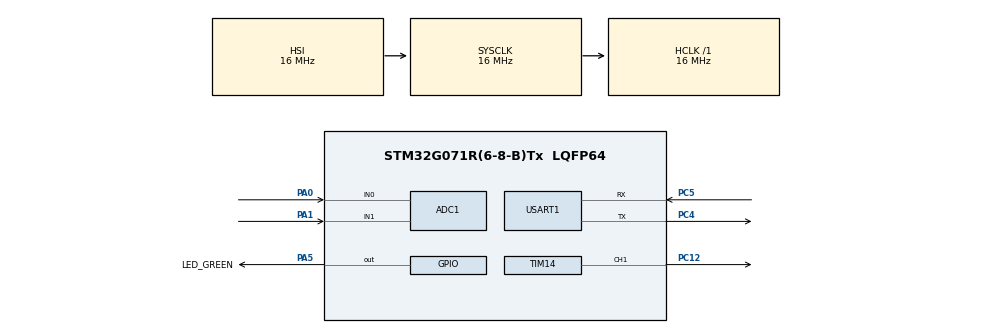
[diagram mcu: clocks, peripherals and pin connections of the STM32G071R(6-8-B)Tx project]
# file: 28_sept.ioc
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ADC1.Channel-0\#ChannelRegularConversion=ADC_CHANNEL_0
ADC1.Channel-1\#ChannelRegularConversion=ADC_CHANNEL_1
ADC1.NbrOfConversion=2
ADC1.NbrOfConversionFlag=1
ADC1.Rank-0\#ChannelRegularConversion=1
ADC1.Rank-1\#ChannelRegularConversion=2
ADC1.SamplingTime-0\#ChannelRegularConversion=ADC_SAMPLINGTIME_COMMON_1
ADC1.SamplingTime-1\#ChannelRegularConversion=ADC_SAMPLINGTIME_COMMON_1
ADC1.SelectedChannel=ADC_CHANNEL_0|ADC_CHANNEL_1
ADC1.master=1
Mcu.Family=STM32G0
Mcu.Name=STM32G071R(6-8-B)Tx
Mcu.Package=LQFP64
PA0.Mode=IN0
PA0.Signal=ADC1_IN0
PA1.Mode=IN1
PA1.Signal=ADC1_IN1
PA13.GPIO_Label=TMS
PA13.Signal=SYS_SWDIO
PA14-BOOT0.GPIO_Label=TCK
PA14-BOOT0.Signal=SYS_SWCLK
PA2.GPIO_Label=USART2_TX [STLK_TX]
PA2.Signal=USART2_TX
PA3.GPIO_Label=USART2_RX [STLK_RX]
PA3.Signal=USART2_RX
PA5.GPIO_Label=LED_GREEN
PA5.GPIO_Speed=GPIO_SPEED_FREQ_HIGH
PA5.Signal=GPIO_Output
PC12.Signal=S_TIM14_CH1
PC13.Signal=SYS_WKUP2
PC14-OSC32_IN\ (PC14).Signal=RCC_OSC32_IN
PC15-OSC32_OUT\ (PC15).Signal=RCC_OSC32_OUT
PC4.Mode=Asynchronous
PC4.Signal=USART1_TX
PC5.Mode=Asynchronous
PC5.Signal=USART1_RX
PF0-OSC_IN\ (PF0).GPIO_Label=MCO
PF0-OSC_IN\ (PF0).Signal=RCC_OSC_IN
ProjectManager.HeapSize=0x200
ProjectManager.StackSize=0x400
ProjectManager.TargetToolchain=STM32CubeIDE
RCC.AHBFreq_Value=16000000
RCC.CortexFreq_Value=16000000
RCC.EXTERNAL_CLOCK_VALUE=12288000
RCC.HCLKFreq_Value=16000000
RCC.HSE_VALUE=8000000
RCC.HSI_VALUE=16000000
RCC.LSE_VALUE=32768
RCC.SYSCLKFreq_VALUE=16000000
RCC.VCOOutputFreq_Value=128000000
SH.S_TIM14_CH1.0=TIM14_CH1,PWM Generation1 CH1
TIM14.Channel=TIM_CHANNEL_1
TIM14.Pulse=1000
USART1.VirtualMode-Asynchronous=VM_ASYNC
VP_SYS_VS_DBSignals.Mode=DisableDeadBatterySignals
VP_TIM14_VS_ClockSourceINT.Mode=Enable_Timer
board=NUCLEO-G071RB

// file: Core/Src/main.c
/* USER CODE BEGIN Header */
/**
  ******************************************************************************
  * @file           : main.c
  * @brief          : Main program body
  ******************************************************************************
  * @attention
  *
  * <h2><center>&copy; Copyright (c) 2023 STMicroelectronics.
  * All rights reserved.</center></h2>
  *
  * This software component is licensed by ST under BSD 3-Clause license,
  * the "License"; You may not use this file except in compliance with the
  * License. You may obtain a copy of the License at:
  *                        opensource.org/licenses/BSD-3-Clause
  *
  ******************************************************************************
  */
/* USER CODE END Header */
#include "main.h"

ADC_HandleTypeDef hadc1;

TIM_HandleTypeDef htim14;

UART_HandleTypeDef huart1;

void SystemClock_Config(void);
static void MX_GPIO_Init(void);
static void MX_ADC1_Init(void);
static void MX_TIM14_Init(void);
static void MX_USART1_UART_Init(void);

int main(void)
{
  /* USER CODE BEGIN 1 */
	int raw=0;
	char msg[5];
	//char n = '3';
	uint8_t data[] = "\r\n//--------------menu-------------//\r\n1. LED on PWM\r\n2. ADC channel 1\r\n3. ADC channel 2\r\nEnter anything between 1 2 3: ";
	char data1[10];
  /* USER CODE END 1 */

  /* MCU Configuration--------------------------------------------------------*/

  /* Reset of all peripherals, Initializes the Flash interface and the Systick. */
  HAL_Init();

  /* Configure the system clock */
  SystemClock_Config();

  /* Initialize all configured peripherals */
  MX_GPIO_Init();
  MX_ADC1_Init();
  MX_TIM14_Init();
  MX_USART1_UART_Init();

  /* Infinite loop */
  /* USER CODE BEGIN WHILE */
    HAL_UART_Transmit (&huart1, data, sizeof (data), HAL_MAX_DELAY);

    HAL_UART_Receive(&huart1, data1, 10, 5000);

    HAL_UART_Transmit (&huart1, data1, sizeof(data1), HAL_MAX_DELAY);

    char n = data1[0];

    HAL_UART_Transmit (&huart1, n, sizeof(n), HAL_MAX_DELAY);
  while (1)
  {
	  switch(n){

		  case '1':
		  {
			  HAL_UART_Transmit(&huart1, "CASE 1:\r\n", sizeof("CASE 1:\r\n"), HAL_MAX_DELAY);
			  HAL_TIM_PWM_Start(&htim14,TIM_CHANNEL_1 );
			  HAL_GPIO_WritePin(LED_GREEN_GPIO_Port, LED_GREEN_Pin, 1);
			  break;
		  }
		  case '2':
		  {
			  while(1)
			  {
				  //HAL_UART_Transmit(&huart2, "CASE 2:\r\n", sizeof("CASE 2:\r\n"), HAL_MAX_DELAY);
				  HAL_ADC_Start(&hadc1);
				  HAL_ADC_PollForConversion(&hadc1, HAL_MAX_DELAY);
				  raw = HAL_ADC_GetValue(&hadc1);

				  if(raw>3000){
					  HAL_TIM_PWM_Start(&htim14,TIM_CHANNEL_1 );
				  }
				  else{
					  HAL_TIM_PWM_Stop(&htim14, TIM_CHANNEL_1);
				  }

				  sprintf(msg,"ch_0=%hu\r\n",raw);
				  HAL_UART_Transmit(&huart1,(uint8_t*)msg,strlen(msg), HAL_MAX_DELAY);

			  }
			  break;
		  }
		  case '3':
		  {
			  while(1)
			  {
				  //HAL_UART_Transmit(&huart2, "CASE 3:\r\n", sizeof("CASE 3:\r\n"), HAL_MAX_DELAY);
				  ADC_ChannelConfTypeDef sConfig = {0};

				  sConfig.Channel = ADC_CHANNEL_1;
				  sConfig.Rank = ADC_REGULAR_RANK_1;
				  sConfig.SamplingTime = ADC_SAMPLINGTIME_COMMON_1;
				  if (HAL_ADC_ConfigChannel(&hadc1, &sConfig) != HAL_OK)
				  {
					  Error_Handler();
				  }

				  HAL_ADC_Start(&hadc1);
				  HAL_ADC_PollForConversion(&hadc1, HAL_MAX_DELAY);
				  raw = HAL_ADC_GetValue(&hadc1);

				  if(raw>3000){
					  HAL_GPIO_WritePin(LED_GREEN_GPIO_Port, LED_GREEN_Pin, 1);
				  }
				  else{
					  HAL_GPIO_WritePin(LED_GREEN_GPIO_Port, LED_GREEN_Pin, 0);
				  }

				  sprintf(msg,"ch_1=%hu\r\n",raw);
				  HAL_UART_Transmit(&huart1,(uint8_t*)msg,strlen(msg), HAL_MAX_DELAY);
			  }
			  break;
		  }
		  default:
		  {
			  HAL_UART_Transmit(&huart1, "Default:\r\n", sizeof("Default:\r\n"), HAL_MAX_DELAY);
			  break;
		  }
	  }

    /* USER CODE END WHILE */

  }
}

void SystemClock_Config(void)
{
  RCC_OscInitTypeDef RCC_OscInitStruct = {0};
  RCC_ClkInitTypeDef RCC_ClkInitStruct = {0};
  RCC_PeriphCLKInitTypeDef PeriphClkInit = {0};

  /** Configure the main internal regulator output voltage
  */
  HAL_PWREx_ControlVoltageScaling(PWR_REGULATOR_VOLTAGE_SCALE1);
  /** Initializes the RCC Oscillators according to the specified parameters
  * in the RCC_OscInitTypeDef structure.
  */
  RCC_OscInitStruct.OscillatorType = RCC_OSCILLATORTYPE_HSI;
  RCC_OscInitStruct.HSIState = RCC_HSI_ON;
  RCC_OscInitStruct.HSIDiv = RCC_HSI_DIV1;
  RCC_OscInitStruct.HSICalibrationValue = RCC_HSICALIBRATION_DEFAULT;
  RCC_OscInitStruct.PLL.PLLState = RCC_PLL_NONE;
  if (HAL_RCC_OscConfig(&RCC_OscInitStruct) != HAL_OK)
  {
    Error_Handler();
  }
  /** Initializes the CPU, AHB and APB buses clocks
  */
  RCC_ClkInitStruct.ClockType = RCC_CLOCKTYPE_HCLK|RCC_CLOCKTYPE_SYSCLK
                              |RCC_CLOCKTYPE_PCLK1;
  RCC_ClkInitStruct.SYSCLKSource = RCC_SYSCLKSOURCE_HSI;
  RCC_ClkInitStruct.AHBCLKDivider = RCC_SYSCLK_DIV1;
  RCC_ClkInitStruct.APB1CLKDivider = RCC_HCLK_DIV1;

  if (HAL_RCC_ClockConfig(&RCC_ClkInitStruct, FLASH_LATENCY_0) != HAL_OK)
  {
    Error_Handler();
  }
  /** Initializes the peripherals clocks
  */
  PeriphClkInit.PeriphClockSelection = RCC_PERIPHCLK_USART1|RCC_PERIPHCLK_ADC;
  PeriphClkInit.Usart1ClockSelection = RCC_USART1CLKSOURCE_PCLK1;
  PeriphClkInit.AdcClockSelection = RCC_ADCCLKSOURCE_SYSCLK;
  if (HAL_RCCEx_PeriphCLKConfig(&PeriphClkInit) != HAL_OK)
  {
    Error_Handler();
  }
}

static void MX_ADC1_Init(void)
{

  ADC_ChannelConfTypeDef sConfig = {0};

  /** Configure the global features of the ADC (Clock, Resolution, Data Alignment and number of conversion)
  */
  hadc1.Instance = ADC1;
  hadc1.Init.ClockPrescaler = ADC_CLOCK_SYNC_PCLK_DIV2;
  hadc1.Init.Resolution = ADC_RESOLUTION_12B;
  hadc1.Init.DataAlign = ADC_DATAALIGN_RIGHT;
  hadc1.Init.ScanConvMode = ADC_SCAN_ENABLE;
  hadc1.Init.EOCSelection = ADC_EOC_SINGLE_CONV;
  hadc1.Init.LowPowerAutoWait = DISABLE;
  hadc1.Init.LowPowerAutoPowerOff = DISABLE;
  hadc1.Init.ContinuousConvMode = DISABLE;
  hadc1.Init.NbrOfConversion = 2;
  hadc1.Init.DiscontinuousConvMode = DISABLE;
  hadc1.Init.ExternalTrigConv = ADC_SOFTWARE_START;
  hadc1.Init.ExternalTrigConvEdge = ADC_EXTERNALTRIGCONVEDGE_NONE;
  hadc1.Init.DMAContinuousRequests = DISABLE;
  hadc1.Init.Overrun = ADC_OVR_DATA_PRESERVED;
  hadc1.Init.SamplingTimeCommon1 = ADC_SAMPLETIME_1CYCLE_5;
  hadc1.Init.SamplingTimeCommon2 = ADC_SAMPLETIME_1CYCLE_5;
  hadc1.Init.OversamplingMode = DISABLE;
  hadc1.Init.TriggerFrequencyMode = ADC_TRIGGER_FREQ_HIGH;
  if (HAL_ADC_Init(&hadc1) != HAL_OK)
  {
    Error_Handler();
  }
  /** Configure Regular Channel
  */
  sConfig.Channel = ADC_CHANNEL_0;
  sConfig.Rank = ADC_REGULAR_RANK_1;
  sConfig.SamplingTime = ADC_SAMPLINGTIME_COMMON_1;
  if (HAL_ADC_ConfigChannel(&hadc1, &sConfig) != HAL_OK)
  {
    Error_Handler();
  }
  /** Configure Regular Channel
  */
  sConfig.Channel = ADC_CHANNEL_1;
  sConfig.Rank = ADC_REGULAR_RANK_2;
  if (HAL_ADC_ConfigChannel(&hadc1, &sConfig) != HAL_OK)
  {
    Error_Handler();
  }

}

static void MX_TIM14_Init(void)
{

  TIM_OC_InitTypeDef sConfigOC = {0};

  htim14.Instance = TIM14;
  htim14.Init.Prescaler = 0;
  htim14.Init.CounterMode = TIM_COUNTERMODE_UP;
  htim14.Init.Period = 65535;
  htim14.Init.ClockDivision = TIM_CLOCKDIVISION_DIV1;
  htim14.Init.AutoReloadPreload = TIM_AUTORELOAD_PRELOAD_DISABLE;
  if (HAL_TIM_Base_Init(&htim14) != HAL_OK)
  {
    Error_Handler();
  }
  if (HAL_TIM_PWM_Init(&htim14) != HAL_OK)
  {
    Error_Handler();
  }
  sConfigOC.OCMode = TIM_OCMODE_PWM1;
  sConfigOC.Pulse = 1000;
  sConfigOC.OCPolarity = TIM_OCPOLARITY_HIGH;
  sConfigOC.OCFastMode = TIM_OCFAST_DISABLE;
  if (HAL_TIM_PWM_ConfigChannel(&htim14, &sConfigOC, TIM_CHANNEL_1) != HAL_OK)
  {
    Error_Handler();
  }
  HAL_TIM_MspPostInit(&htim14);

}

static void MX_USART1_UART_Init(void)
{

  huart1.Instance = USART1;
  huart1.Init.BaudRate = 115200;
  huart1.Init.WordLength = UART_WORDLENGTH_8B;
  huart1.Init.StopBits = UART_STOPBITS_1;
  huart1.Init.Parity = UART_PARITY_NONE;
  huart1.Init.Mode = UART_MODE_TX_RX;
  huart1.Init.HwFlowCtl = UART_HWCONTROL_NONE;
  huart1.Init.OverSampling = UART_OVERSAMPLING_16;
  huart1.Init.OneBitSampling = UART_ONE_BIT_SAMPLE_DISABLE;
  huart1.Init.ClockPrescaler = UART_PRESCALER_DIV1;
  huart1.AdvancedInit.AdvFeatureInit = UART_ADVFEATURE_NO_INIT;
  if (HAL_UART_Init(&huart1) != HAL_OK)
  {
    Error_Handler();
  }
  if (HAL_UARTEx_SetTxFifoThreshold(&huart1, UART_TXFIFO_THRESHOLD_1_8) != HAL_OK)
  {
    Error_Handler();
  }
  if (HAL_UARTEx_SetRxFifoThreshold(&huart1, UART_RXFIFO_THRESHOLD_1_8) != HAL_OK)
  {
    Error_Handler();
  }
  if (HAL_UARTEx_DisableFifoMode(&huart1) != HAL_OK)
  {
    Error_Handler();
  }

}

static void MX_GPIO_Init(void)
{
  GPIO_InitTypeDef GPIO_InitStruct = {0};

  /* GPIO Ports Clock Enable */
  __HAL_RCC_GPIOC_CLK_ENABLE();
  __HAL_RCC_GPIOF_CLK_ENABLE();
  __HAL_RCC_GPIOA_CLK_ENABLE();

  /*Configure GPIO pin Output Level */
  HAL_GPIO_WritePin(LED_GREEN_GPIO_Port, LED_GREEN_Pin, GPIO_PIN_RESET);

  /*Configure GPIO pins : USART2_TX_Pin USART2_RX_Pin */
  GPIO_InitStruct.Pin = USART2_TX_Pin|USART2_RX_Pin;
  GPIO_InitStruct.Mode = GPIO_MODE_AF_PP;
  GPIO_InitStruct.Pull = GPIO_NOPULL;
  GPIO_InitStruct.Speed = GPIO_SPEED_FREQ_LOW;
  GPIO_InitStruct.Alternate = GPIO_AF1_USART2;
  HAL_GPIO_Init(GPIOA, &GPIO_InitStruct);

  /*Configure GPIO pin : LED_GREEN_Pin */
  GPIO_InitStruct.Pin = LED_GREEN_Pin;
  GPIO_InitStruct.Mode = GPIO_MODE_OUTPUT_PP;
  GPIO_InitStruct.Pull = GPIO_NOPULL;
  GPIO_InitStruct.Speed = GPIO_SPEED_FREQ_HIGH;
  HAL_GPIO_Init(LED_GREEN_GPIO_Port, &GPIO_InitStruct);

}

void Error_Handler(void)
{
  __disable_irq();
  while (1)
  {
  }
}

/************************ (C) COPYRIGHT STMicroelectronics *****END OF FILE****/
